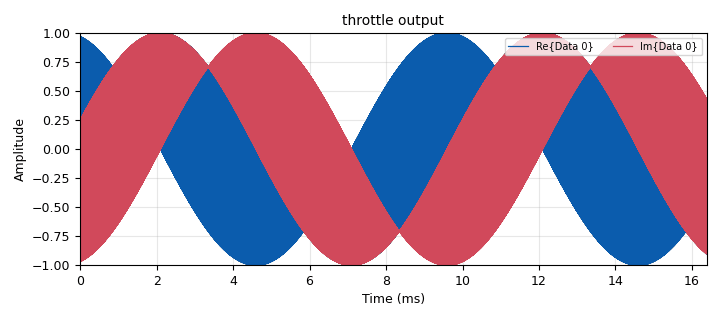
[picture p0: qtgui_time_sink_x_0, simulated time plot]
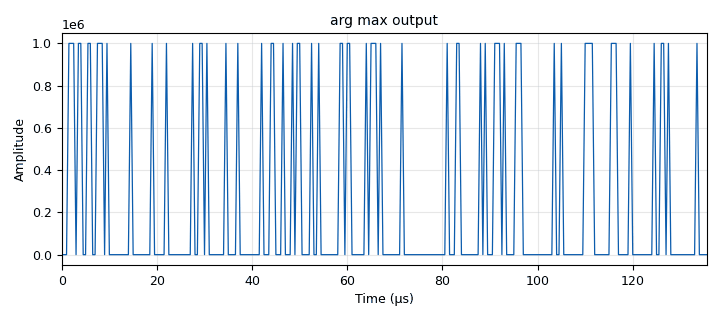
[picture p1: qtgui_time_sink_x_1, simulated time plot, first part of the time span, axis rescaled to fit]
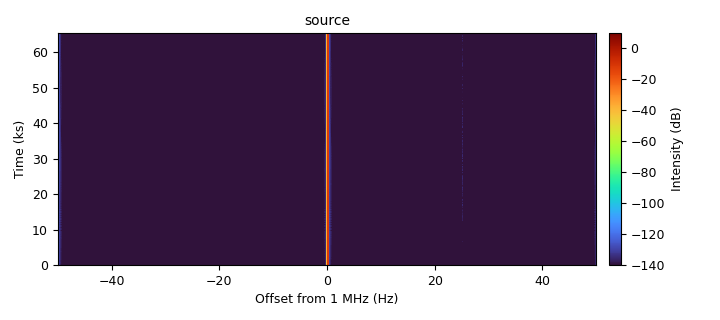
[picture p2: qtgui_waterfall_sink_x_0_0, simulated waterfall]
options:
  parameters:
    author: aliaq
    generate_options: qt_gui
    id: shift_calculation_part3
    output_language: python
    title: Not titled yet
  states: {}

blocks:
- name: SimFreq
  id: variable
  parameters:
    value: 1e6
  states: {}
- name: SimFreqMod
  id: variable
  parameters:
    value: '2400000000'
  states: {}
- name: SimFreqShift
  id: variable
  parameters:
    value: '100'
  states: {}
- name: SpoofingVelocity
  id: variable
  parameters:
    value: '1000'
  states: {}
- name: fft_size
  id: variable
  parameters:
    value: '32768'
  states: {}
- name: samp_rate
  id: variable
  parameters:
    value: '2000000'
  states: {}
- name: analog_const_source_x_0
  id: analog_const_source_x
  parameters:
    const: '-SimFreq'
    type: float
  states: {}
- name: analog_const_source_x_0_0
  id: analog_const_source_x
  parameters:
    const: 3e8/2/SimFreqMod
    type: float
  states: {}
- name: analog_sig_source_x_0
  id: analog_sig_source_x
  parameters:
    amp: '1'
    freq: SimFreq
    offset: '0'
    phase: '0'
    samp_rate: samp_rate
    type: complex
    waveform: analog.GR_SQR_WAVE
  states: {}
- name: blocks_add_xx_0
  id: blocks_add_xx
  parameters:
    type: float
  states: {}
- name: blocks_argmax_xx_0
  id: blocks_argmax_xx
  parameters:
    num_inputs: '1'
    type: float
    vlen: fft_size
  states: {}
- name: blocks_freqshift_cc_0
  id: blocks_freqshift_cc
  parameters:
    freq: SimFreqShift
    sample_rate: samp_rate
  states: {}
- name: blocks_multiply_const_vxx_0
  id: blocks_multiply_const_vxx
  parameters:
    const: samp_rate/fft_size
    type: float
  states: {}
- name: blocks_multiply_xx_0
  id: blocks_multiply_xx
  parameters:
    type: float
  states: {}
- name: blocks_null_sink_0
  id: blocks_null_sink
  parameters:
    type: short
  states: {}
- name: blocks_short_to_float_0
  id: blocks_short_to_float
  parameters:
    scale: '1'
  states: {}
- name: iio_pluto_sink_0
  id: iio_pluto_sink
  parameters:
    attenuation1: '10.0'
    bandwidth: '20000000'
    buffer_size: '32768'
    cyclic: 'False'
    filter_source: '''Auto'''
    frequency: SimFreqMod
    samplerate: samp_rate
    type: fc32
  states: {}
- name: logpwrfft_x_0
  id: logpwrfft_x
  parameters:
    average: 'False'
    avg_alpha: '1.0'
    fft_size: fft_size
    frame_rate: '30'
    ref_scale: '2'
    sample_rate: samp_rate
    shift: 'False'
    type: complex
  states: {}
- name: qtgui_number_sink_0
  id: qtgui_number_sink
  parameters:
    autoscale: 'True'
    graph_type: qtgui.NUM_GRAPH_HORIZ
    name: '"shifted frequency"'
    type: float
  states: {}
- name: qtgui_number_sink_0_0
  id: qtgui_number_sink
  parameters:
    autoscale: 'True'
    graph_type: qtgui.NUM_GRAPH_HORIZ
    name: '"shift"'
    type: float
  states: {}
- name: qtgui_number_sink_0_0_0
  id: qtgui_number_sink
  parameters:
    autoscale: 'True'
    graph_type: qtgui.NUM_GRAPH_HORIZ
    name: '"velocity"'
    type: float
  states: {}
- name: qtgui_time_sink_x_0
  id: qtgui_time_sink_x
  parameters:
    name: '"throttle output"'
    size: fft_size
    srate: samp_rate
    type: complex
  states: {}
- name: qtgui_time_sink_x_1
  id: qtgui_time_sink_x
  parameters:
    grid: 'True'
    name: '"arg max output"'
    size: fft_size
    srate: samp_rate
    type: float
    ymax: '505'
    ymin: '495'
  states: {}
- name: qtgui_waterfall_sink_x_0
  id: qtgui_waterfall_sink_x
  parameters:
    bw: SimFreqShift
    fc: SimFreq
    fftsize: '1024'
    type: float
  states: {}
- name: qtgui_waterfall_sink_x_0_0
  id: qtgui_waterfall_sink_x
  parameters:
    bw: SimFreqShift
    fc: SimFreq
    fftsize: '32768'
    name: '"source"'
    type: complex
  states: {}

connections:
- [analog_const_source_x_0, '0', blocks_add_xx_0, '0']
- [analog_const_source_x_0_0, '0', blocks_multiply_xx_0, '0']
- [analog_sig_source_x_0, '0', blocks_freqshift_cc_0, '0']
- [analog_sig_source_x_0, '0', iio_pluto_sink_0, '0']
- [blocks_add_xx_0, '0', blocks_multiply_xx_0, '1']
- [blocks_add_xx_0, '0', qtgui_number_sink_0_0, '0']
- [blocks_argmax_xx_0, '0', blocks_short_to_float_0, '0']
- [blocks_argmax_xx_0, '1', blocks_null_sink_0, '0']
- [blocks_freqshift_cc_0, '0', logpwrfft_x_0, '0']
- [blocks_freqshift_cc_0, '0', qtgui_time_sink_x_0, '0']
- [blocks_freqshift_cc_0, '0', qtgui_waterfall_sink_x_0_0, '0']
- [blocks_multiply_const_vxx_0, '0', blocks_add_xx_0, '1']
- [blocks_multiply_const_vxx_0, '0', qtgui_number_sink_0, '0']
- [blocks_multiply_const_vxx_0, '0', qtgui_time_sink_x_1, '0']
- [blocks_multiply_xx_0, '0', qtgui_number_sink_0_0_0, '0']
- [blocks_short_to_float_0, '0', blocks_multiply_const_vxx_0, '0']
- [blocks_short_to_float_0, '0', qtgui_waterfall_sink_x_0, '0']
- [logpwrfft_x_0, '0', blocks_argmax_xx_0, '0']

metadata:
  file_format: 1
  grc_version: 3.10.12.0
